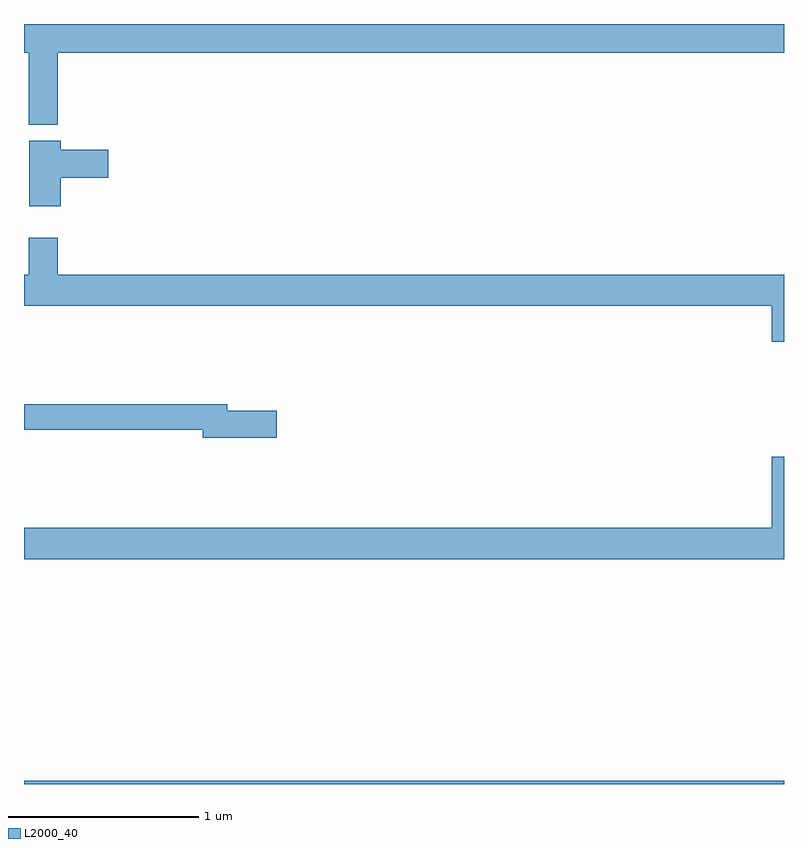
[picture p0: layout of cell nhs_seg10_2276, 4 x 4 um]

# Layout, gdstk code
import gdstk
lib = gdstk.Library(unit=1e-6, precision=1e-09)
def R(c, l, rs):  # rectangles x0, y0, x1, y1
    for r in rs: c.add(gdstk.rectangle(r[:2], r[2:], *l))
def P(c, l, *ps):  # polygons
    for p in ps: c.add(gdstk.Polygon(p, *l))
L2000_40 = (2000, 40)

nhs_seg10_2276 = lib.new_cell('nhs_seg10_2276')
R(nhs_seg10_2276, L2000_40, [(233,1264.5,237,1264.516)])
P(nhs_seg10_2276, L2000_40, [(233.177,1268.348),(237,1268.348),(237,1268.5),(233,1268.5),(233,1268.348),(233.024,1268.348),(233.024,1267.97),(233.177,1267.97)],
  [(233.194,1267.691),(233.443,1267.691),(233.443,1267.838),(233.194,1267.838),(233.194,1267.885),(233.027,1267.885),(233.027,1267.542),(233.194,1267.542)],
  [(237,1267.18),(233.177,1267.18),(233.177,1267.375),(233.024,1267.375),(233.024,1267.18),(233,1267.18),(233,1267.016),(236.936,1267.016),(236.936,1266.828),(237,1266.828)],
  [(234.331,1266.464),(234.07,1266.464),(234.07,1266.5),(233,1266.5),(233,1266.364),(233.942,1266.364),(233.942,1266.322),(234.331,1266.322)],
  [(237,1266.223),(236.936,1266.223),(236.936,1265.848),(233,1265.848),(233,1265.684),(237,1265.684)])

lib.write_gds('nhs_seg10_2276.gds')
